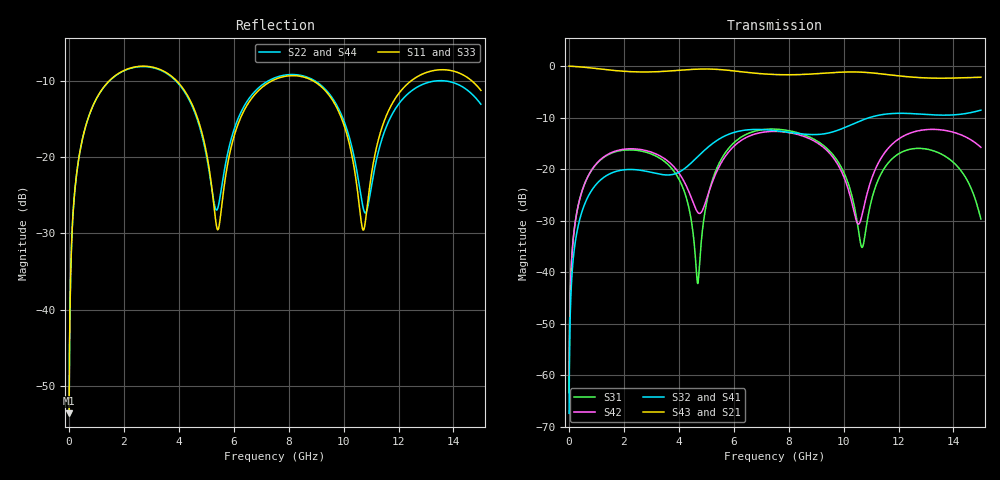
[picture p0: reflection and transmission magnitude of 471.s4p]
! Created with skrf 1.8.0 (http://scikit-rf.org).
# GHz S RI R 50.0
!freq ReS11 ImS11 ReS12 ImS12 ReS13 ImS13
! ReS14 ImS14
! ReS21 ImS21 ReS22 ImS22 ReS23 ImS23
! ReS24 ImS24
! ReS31 ImS31 ReS32 ImS32 ReS33 ImS33
! ReS34 ImS34
! ReS41 ImS41 ReS42 ImS42 ReS43 ImS43
! ReS44 ImS44
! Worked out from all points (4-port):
!   2499 points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, 5 MHz to 15 GHz, reference 50 ohm
!   strongest paths, dB at 5 MHz, 3.476 GHz, 7.19 GHz, 11.1 GHz, 15 GHz:
!     S43: 0.0, -1.0, -1.6, -1.4, -2.2
!     S21: 0.0, -1.0, -1.5, -1.4, -2.2
!     S32: -67.4, -21.1, -12.4, -9.8, -8.6
!     S41: -67.4, -21.1, -12.4, -9.8, -8.5
!     S42: -63.4, -18.0, -12.7, -20.8, -15.8
!     S31: -63.4, -18.5, -12.3, -24.5, -29.7
!   lowest |S11| = -53.6 dB at 5 MHz (marker M1), VSWR 1.00, Z = 50.2 + j0.127 ohm
!   |S11| at or under -10 dB: start of sweep to 1.467 GHz; 3.92 GHz to 7.386 GHz (3.466 GHz wide, 61.3 % of centre); 8.891 GHz to 12.46 GHz (3.568 GHz wide, 33.4 % of centre) (the widest 3 of 4)
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0.005  0.00166 0.00126  0.9983 -0.00324  8.4e-05 0.000673  -8.16e-05 -0.00042
       0.9983 -0.00324  0.00166 0.00126  -8.16e-05 -0.00042  8.42e-05 0.000673
       8.4e-05 0.000673  -8.16e-05 -0.00042  0.00166 0.00126  0.9983 -0.00324
       -8.16e-05 -0.00042  8.42e-05 0.000673  0.9983 -0.00324  0.00166 0.00126
0.3626511  0.031 0.0945  0.9572 -0.2316  0.0147 0.0454  -0.0124 -0.0277
           0.9572 -0.2316  0.0309 0.0945  -0.0124 -0.0277  0.0153 0.0452
           0.0147 0.0454  -0.0124 -0.0277  0.031 0.0945  0.9572 -0.2316
           -0.0124 -0.0277  0.0153 0.0452  0.9572 -0.2316  0.0309 0.0945
1.619545  0.2887 0.1696  0.5099 -0.7515  0.1318 0.0611  -0.0933 0.00023
          0.5099 -0.7515  0.2864 0.1713  -0.0933 0.00032  0.1381 0.0517
          0.1318 0.0611  -0.0933 0.00032  0.2885 0.1696  0.5099 -0.7515
          -0.0933 0.00023  0.1381 0.0517  0.5099 -0.7515  0.2864 0.1712
4.689454  0.0934 -0.152  -0.8205 -0.4464  0.00727 0.0027  -0.0596 0.118
          -0.8205 -0.4464  0.1009 -0.1405  -0.0587 0.1185  -0.0319 -0.0208
          0.00727 0.0027  -0.0587 0.1185  0.0927 -0.1504  -0.8209 -0.4463
          -0.0596 0.118  -0.0319 -0.0208  -0.8209 -0.4463  0.0998 -0.1391
8.434764  0.3336 -0.0579  0.0216 0.8278  0.1994 -0.0956  0.2005 -0.0882
          0.0216 0.8278  0.3381 -0.0624  0.2005 -0.0914  0.1989 -0.0761
          0.1994 -0.0956  0.2005 -0.0914  0.3331 -0.0563  0.02 0.8279
          0.2005 -0.0882  0.1989 -0.0761  0.02 0.8279  0.3391 -0.0625
11.12338  0.055 0.0835  0.8541 -0.0281  0.0149 0.0611  -0.0239 -0.3257
          0.8541 -0.0281  0.0586 0.0585  -0.0299 -0.3252  0.0793 0.0527
          0.0149 0.0611  -0.0299 -0.3252  0.0562 0.0862  0.854 -0.0254
          -0.0239 -0.3257  0.0793 0.0527  0.854 -0.0254  0.0578 0.0622
15  0.2245 -0.1569  -0.4325 -0.6494  -0.00875 -0.0317  -0.3066 0.2138
    -0.4325 -0.6494  0.2064 -0.0826  -0.3014 0.2207  -0.0524 -0.1543
    -0.00875 -0.0317  -0.3014 0.2207  0.2278 -0.1593  -0.4239 -0.6539
    -0.3066 0.2138  -0.0524 -0.1543  -0.4239 -0.6539  0.2126 -0.081
